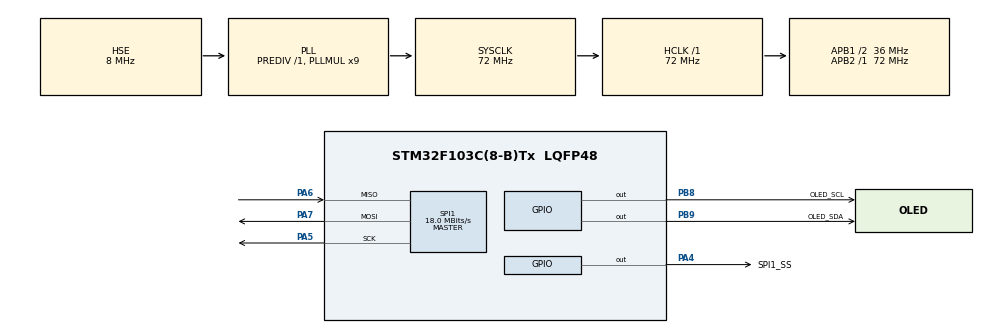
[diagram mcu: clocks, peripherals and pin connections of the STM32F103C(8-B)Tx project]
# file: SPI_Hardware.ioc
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Mcu.Family=STM32F1
Mcu.Name=STM32F103C(8-B)Tx
Mcu.Package=LQFP48
NVIC.PriorityGroup=NVIC_PRIORITYGROUP_4
PA13.Mode=Serial_Wire
PA13.Signal=SYS_JTMS-SWDIO
PA14.Mode=Serial_Wire
PA14.Signal=SYS_JTCK-SWCLK
PA4.GPIO_Label=SPI1_SS
PA4.GPIO_ModeDefaultOutputPP=GPIO_MODE_OUTPUT_PP
PA4.GPIO_PuPd=GPIO_NOPULL
PA4.PinState=GPIO_PIN_SET
PA4.Signal=GPIO_Output
PA5.Mode=Full_Duplex_Master
PA5.Signal=SPI1_SCK
PA6.Mode=Full_Duplex_Master
PA6.Signal=SPI1_MISO
PA7.Mode=Full_Duplex_Master
PA7.Signal=SPI1_MOSI
PB8.GPIO_Label=OLED_SCL 
PB8.GPIO_ModeDefaultOutputPP=GPIO_MODE_OUTPUT_OD
PB8.GPIO_PuPd=GPIO_NOPULL
PB8.Signal=GPIO_Output
PB9.GPIO_Label=OLED_SDA
PB9.GPIO_ModeDefaultOutputPP=GPIO_MODE_OUTPUT_OD
PB9.GPIO_PuPd=GPIO_NOPULL
PB9.Signal=GPIO_Output
PD0-OSC_IN.Mode=HSE-External-Oscillator
PD0-OSC_IN.Signal=RCC_OSC_IN
PD1-OSC_OUT.Mode=HSE-External-Oscillator
PD1-OSC_OUT.Signal=RCC_OSC_OUT
ProjectManager.HeapSize=0x200
ProjectManager.StackSize=0x400
ProjectManager.TargetToolchain=CMake
RCC.AHBFreq_Value=72000000
RCC.APB1CLKDivider=RCC_HCLK_DIV2
RCC.APB1Freq_Value=36000000
RCC.APB1TimFreq_Value=72000000
RCC.APB2Freq_Value=72000000
RCC.APB2TimFreq_Value=72000000
RCC.HCLKFreq_Value=72000000
RCC.PLLMUL=RCC_PLL_MUL9
RCC.PLLSourceVirtual=RCC_PLLSOURCE_HSE
RCC.SYSCLKFreq_VALUE=72000000
RCC.SYSCLKSource=RCC_SYSCLKSOURCE_PLLCLK
RCC.USBFreq_Value=72000000
SPI1.BaudRatePrescaler=SPI_BAUDRATEPRESCALER_4
SPI1.CRCCalculation=SPI_CRCCALCULATION_DISABLE
SPI1.CalculateBaudRate=18.0 MBits/s
SPI1.Direction=SPI_DIRECTION_2LINES
SPI1.Mode=SPI_MODE_MASTER
SPI1.VirtualType=VM_MASTER
board=custom

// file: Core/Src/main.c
/* USER CODE BEGIN Header */
/**
  ******************************************************************************
  * @file           : main.c
  * @brief          : Main program body
  ******************************************************************************
  * @attention
  *
  * Copyright (c) 2026 STMicroelectronics.
  * All rights reserved.
  *
  * This software is licensed under terms that can be found in the LICENSE file
  * in the root directory of this software component.
  * If no LICENSE file comes with this software, it is provided AS-IS.
  *
  ******************************************************************************
  */
/* USER CODE END Header */
#include "main.h"
#include "spi.h"
#include "gpio.h"
#include "W25Q64.h"

/* USER CODE BEGIN Includes */
#include "W25Q64.h"
#include "OLED.h"
/* USER CODE END Includes */

/* USER CODE BEGIN PV */
uint8_t MID;
uint16_t DID;
uint8_t ArrayWrite[] = {0x01 , 0x02 , 0x03 , 0x04};
uint8_t ArrayRead[4];
/* USER CODE END PV */

void SystemClock_Config(void);

int main(void)
{

  /* MCU Configuration--------------------------------------------------------*/

  /* Reset of all peripherals, Initializes the Flash interface and the Systick. */
  HAL_Init();

  /* Configure the system clock */
  SystemClock_Config();

  /* Initialize all configured peripherals */
  MX_GPIO_Init();
  MX_SPI1_Init();
  /* USER CODE BEGIN 2 */
  OLED_Init();
  W25DQ64_Init();
  OLED_ShowString(1 ,1, "MID:");
  OLED_ShowString(1 ,10, "DID:");
  OLED_ShowString( 2,1, "W:");
  OLED_ShowString(3 ,1, "R:");
  W25DQ64_ReadID(&MID , &DID);
  OLED_ShowHexNum(1 , 6 , MID , 2);
  OLED_ShowHexNum(1 , 15 , DID , 2);

  W25DQ64_EraseSector(0x000000);
  W25DQ64_PageProgram(0x000000, ArrayWrite, 4);
  W25DQ64_ReadData(0x000000, ArrayRead, 4);

  OLED_ShowHexNum(2 , 3 , ArrayWrite[0] , 2);
  OLED_ShowHexNum(2 , 6 , ArrayWrite[1] , 2);
  OLED_ShowHexNum(2 , 9 , ArrayWrite[2] , 2);
  OLED_ShowHexNum(2 , 12 , ArrayWrite[3] , 2);

  OLED_ShowHexNum(3 , 3 , ArrayRead[0] , 2);
  OLED_ShowHexNum(3 , 6 , ArrayRead[1] , 2);
  OLED_ShowHexNum(3 , 9 , ArrayRead[2] , 2);
  OLED_ShowHexNum(3 , 12 , ArrayRead[3] , 2);
  /* USER CODE END 2 */

  /* Infinite loop */
  while (1)
  {

  }
}

void SystemClock_Config(void)
{
  RCC_OscInitTypeDef RCC_OscInitStruct = {0};
  RCC_ClkInitTypeDef RCC_ClkInitStruct = {0};

  /** Initializes the RCC Oscillators according to the specified parameters
  * in the RCC_OscInitTypeDef structure.
  */
  RCC_OscInitStruct.OscillatorType = RCC_OSCILLATORTYPE_HSE;
  RCC_OscInitStruct.HSEState = RCC_HSE_ON;
  RCC_OscInitStruct.HSEPredivValue = RCC_HSE_PREDIV_DIV1;
  RCC_OscInitStruct.HSIState = RCC_HSI_ON;
  RCC_OscInitStruct.PLL.PLLState = RCC_PLL_ON;
  RCC_OscInitStruct.PLL.PLLSource = RCC_PLLSOURCE_HSE;
  RCC_OscInitStruct.PLL.PLLMUL = RCC_PLL_MUL9;
  if (HAL_RCC_OscConfig(&RCC_OscInitStruct) != HAL_OK)
  {
    Error_Handler();
  }

  /** Initializes the CPU, AHB and APB buses clocks
  */
  RCC_ClkInitStruct.ClockType = RCC_CLOCKTYPE_HCLK|RCC_CLOCKTYPE_SYSCLK
                              |RCC_CLOCKTYPE_PCLK1|RCC_CLOCKTYPE_PCLK2;
  RCC_ClkInitStruct.SYSCLKSource = RCC_SYSCLKSOURCE_PLLCLK;
  RCC_ClkInitStruct.AHBCLKDivider = RCC_SYSCLK_DIV1;
  RCC_ClkInitStruct.APB1CLKDivider = RCC_HCLK_DIV2;
  RCC_ClkInitStruct.APB2CLKDivider = RCC_HCLK_DIV1;

  if (HAL_RCC_ClockConfig(&RCC_ClkInitStruct, FLASH_LATENCY_2) != HAL_OK)
  {
    Error_Handler();
  }
}

void Error_Handler(void)
{
  __disable_irq();
  while (1)
  {
  }
}
